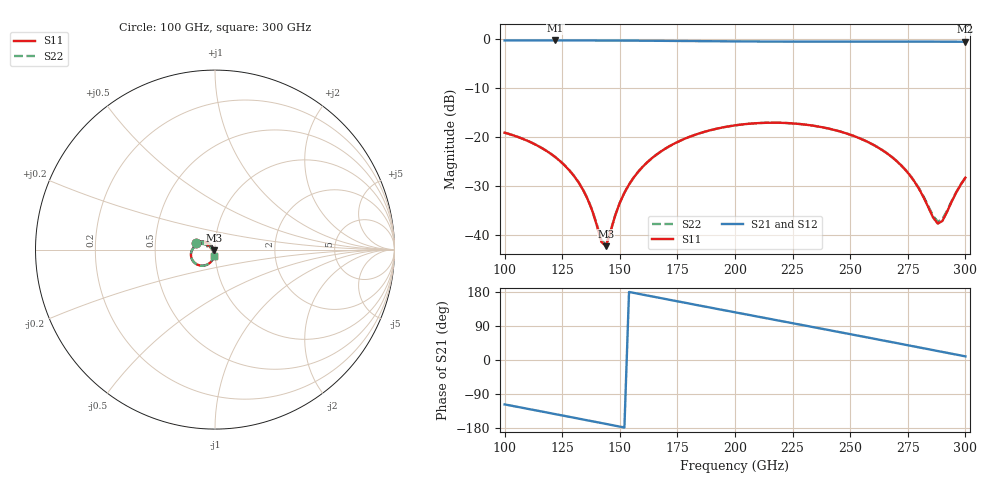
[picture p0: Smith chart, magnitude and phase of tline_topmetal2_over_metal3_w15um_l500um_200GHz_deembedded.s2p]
! Created with skrf 2.2.0 (http://scikit-rf.org).
# GHz S DB R 50.0
! Port[1] = P1
! Port[2] = P2
!freq dBS11 angS11 dBS21 angS21 dBS12 angS12 dBS22 angS22
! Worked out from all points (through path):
!   101 points, 100 GHz to 300 GHz, reference 50 ohm
!   highest |S21| = -0.38 dB at 122 GHz (marker M1); lowest = -0.7 dB at 300 GHz (marker M2)
!   group delay of S21, straight-line fit = 3.23 ps
!   lowest |S11| = -42.3 dB at 144 GHz (marker M3), VSWR 1.02, Z = 49.3 - j0.381 ohm
!   |S11| at or under -10 dB: start of sweep to end of sweep
!   |S22| runs from -41.9 to -17.1 dB; largest |S21 - S12| = 1.1e-14
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100  -19.16 161.5  -0.38 -117.2  -0.38 -117.2  -19.15 161.7
112  -21.26 148.4  -0.38 -131.1  -0.38 -131.1  -21.24 148.8
122  -24.14 138.6  -0.38 -142.8  -0.38 -142.8  -24.12 139.1
128  -26.77 134.0  -0.38 -149.9  -0.38 -149.9  -26.74 134.6
134  -30.76 132.5  -0.39 -156.9  -0.39 -156.9  -30.70 133.3
138  -35.00 137.7  -0.39 -161.6  -0.39 -161.6  -34.87 138.7
142  -41.37 169.2  -0.39 -166.3  -0.39 -166.3  -41.03 169.7
144  -42.26 -149.9  -0.40 -168.7  -0.40 -168.7  -41.95 -151.2
150  -33.43 -101.7  -0.41 -175.8  -0.41 -175.8  -33.43 -102.4
154  -29.70 -99.1  -0.42 179.5  -0.42 179.5  -29.71 -99.5
160  -26.06 -101.5  -0.43 172.5  -0.43 172.5  -26.07 -101.7
168  -22.93 -108.2  -0.46 163.1  -0.46 163.1  -22.94 -108.2
182  -19.70 -122.3  -0.51 146.7  -0.51 146.7  -19.70 -122.2
200  -17.67 -141.4  -0.57 125.9  -0.57 125.9  -17.67 -141.2
218  -17.13 -160.6  -0.61 105.2  -0.61 105.2  -17.13 -160.3
234  -17.74 -177.4  -0.62 86.7  -0.62 86.7  -17.74 -177.0
254  -20.28 162.5  -0.62 63.5  -0.62 63.5  -20.27 163.1
268  -24.08 151.2  -0.62 47.2  -0.62 47.2  -24.06 152.0
278  -29.19 149.9  -0.62 35.5  -0.62 35.5  -29.12 151.1
288  -37.68 -159.3  -0.63 23.7  -0.63 23.7  -37.27 -158.9
290  -37.14 -134.9  -0.63 21.4  -0.63 21.4  -36.79 -135.7
300  -28.33 -96.8  -0.65 9.6  -0.65 9.6  -28.29 -97.3
